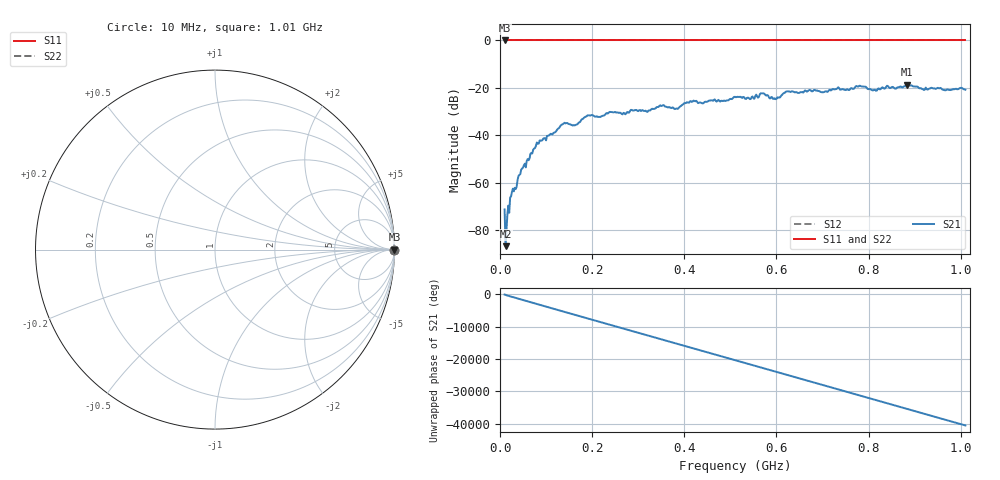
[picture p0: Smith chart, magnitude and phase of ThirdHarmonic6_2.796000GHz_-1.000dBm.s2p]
! 8/17/2025 7:15:37 AM
! C:\ANRITSUVNA\TEMP\TEMP.S2P
! CHANNEL.1
! TR.MEASUREMENT
! RAW.DATA
! RF.CORRECTION.OFF
! AVERAGING.OFF
! IF.BANDWIDTH: 5KHZ
! SWEEPTYPE:  FREQ.SWEEP(Linear)
! Reference Plane Port Info
! PORT:  PORT1  PORT2
! DISTANCE:  0  m  0  m
! TIME:  0  s  0  s
! PHASE.OFFSET:  0  deg.  0  deg.
! LOSS:  0  dB  0  dB
! REF.LOSS:  0  dB  0  dB
! REF.FREQ:  0  Hz  0  Hz
! Power Info
! POWER:  -20  dBm  -20  dBm
! EFF.POWER:  -20  dBm  -20  dBm
! SOURCE.ATTEN:  0  dB  0  dB
! TEST.ATTEN:  0  dB  0  dB
# GHZ S RI R 50.0
! FREQ.GHZ  S11RE  S11IM  S21RE  S21IM  S12RE  S12IM  S22RE  S22IM
!; PortSelection: Port_12
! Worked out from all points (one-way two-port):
!   501 points, 10 MHz to 1.01 GHz, reference 50 ohm
!   highest |S21| = -18.60 dB at 884 MHz (marker M1); lowest = -86.6 dB at 12 MHz (marker M2)
!   lowest |S11| = 0.0 dB at 10 MHz (marker M3)
!   |S11| at or under -10 dB: nowhere
!   |S22| runs from 0.0 to 0.0 dB; largest |S21 - S12| = 1.1
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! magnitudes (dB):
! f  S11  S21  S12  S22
! 10 MHz  0.0  -71.2  0.0  0.0
! 12 MHz  0.0  -86.6  0.0  0.0
! 16 MHz  0.0  -73.4  0.0  0.0
! 26 MHz  0.0  -63.8  0.0  0.0
! 34 MHz  0.0  -62.6  0.0  0.0
! 44 MHz  0.0  -56.3  0.0  0.0
! 82 MHz  0.0  -43.5  0.0  0.0
! 136 MHz  0.0  -35.3  0.0  0.0
! 162 MHz  0.0  -35.8  0.0  0.0
! 178 MHz  0.0  -33.1  0.0  0.0
! 344 MHz  0.0  -28.0  0.0  0.0
! 382 MHz  0.0  -28.7  0.0  0.0
! 416 MHz  0.0  -25.9  0.0  0.0
! 510 MHz  0.0  -23.7  0.0  0.0
! 548 MHz  0.0  -23.6  0.0  0.0
! 570 MHz  0.0  -22.2  0.0  0.0
! 596 MHz  0.0  -24.3  0.0  0.0
! 624 MHz  0.0  -21.4  0.0  0.0
! 678 MHz  0.0  -21.4  0.0  0.0
! 844 MHz  0.0  -19.8  0.0  0.0
! 884 MHz  0.0  -18.6  0.0  0.0
! 1.01 GHz  0.0  -20.7  0.0  0.0
